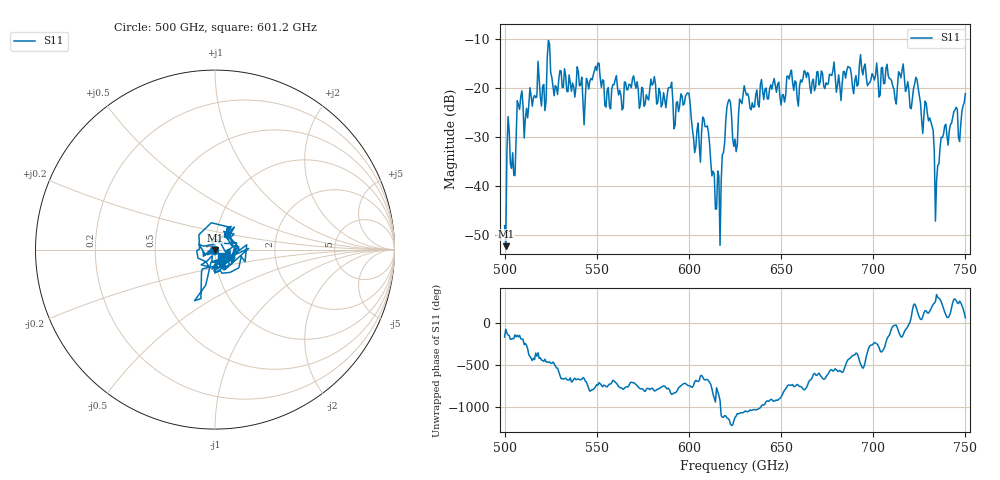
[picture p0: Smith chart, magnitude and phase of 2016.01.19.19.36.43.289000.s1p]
!Created with skrf (http://scikit-rf.org).
# GHz S RI R 50.0
!freq ReS11 ImS11
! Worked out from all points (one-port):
!   401 points, 500 GHz to 750 GHz, reference 50 ohm
!   lowest |S11| = -52.3 dB at 500.6 GHz (marker M1), VSWR 1.00, Z = 50.1 - j0.238 ohm
!   |S11| at or under -10 dB: start of sweep to end of sweep
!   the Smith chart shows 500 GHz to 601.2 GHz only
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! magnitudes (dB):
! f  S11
! 500 GHz  -48.1
! 500.6 GHz  -52.3
! 502.5 GHz  -28.7
! 504.4 GHz  -33.2
! 508.1 GHz  -24.4
! 521.2 GHz  -19.2
! 524.4 GHz  -11.0
! 527.5 GHz  -19.5
! 531.2 GHz  -19.8
! 543.8 GHz  -22.2
! 550 GHz  -16.4
! 562.5 GHz  -20.4
! 580.6 GHz  -19.0
! 593.8 GHz  -22.8
! 599.4 GHz  -21.0
! 605 GHz  -27.1
! 608.8 GHz  -27.9
! 615.6 GHz  -36.9
! 621.2 GHz  -22.8
! 625 GHz  -30.4
! 630.6 GHz  -20.6
! 656.2 GHz  -18.9
! 687.5 GHz  -15.9
! 718.8 GHz  -18.7
! 729.4 GHz  -25.2
! 734.4 GHz  -38.8
! 738.1 GHz  -29.4
! 750 GHz  -21.1
